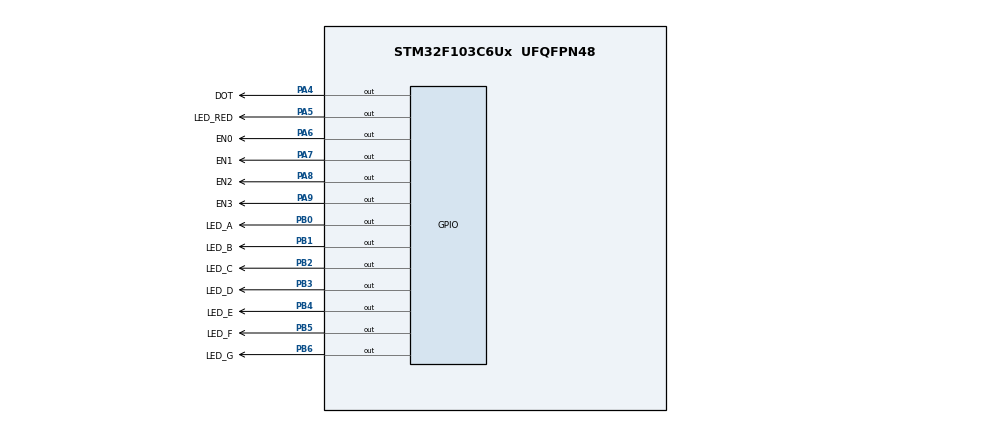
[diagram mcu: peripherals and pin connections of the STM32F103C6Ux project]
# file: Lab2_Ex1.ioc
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Mcu.Family=STM32F1
Mcu.Name=STM32F103C6Ux
Mcu.Package=UFQFPN48
NVIC.PriorityGroup=NVIC_PRIORITYGROUP_4
NVIC.TIM2_IRQn=true\:0\:0\:false\:false\:true\:true\:true
PA4.GPIO_Label=DOT
PA4.Signal=GPIO_Output
PA5.GPIO_Label=LED_RED
PA5.Signal=GPIO_Output
PA6.GPIO_Label=EN0
PA6.Signal=GPIO_Output
PA7.GPIO_Label=EN1
PA7.Signal=GPIO_Output
PA8.GPIO_Label=EN2
PA8.Signal=GPIO_Output
PA9.GPIO_Label=EN3
PA9.Signal=GPIO_Output
PB0.GPIO_Label=LED_A
PB0.Signal=GPIO_Output
PB1.GPIO_Label=LED_B
PB1.Signal=GPIO_Output
PB2.GPIO_Label=LED_C
PB2.Signal=GPIO_Output
PB3.GPIO_Label=LED_D
PB3.Signal=GPIO_Output
PB4.GPIO_Label=LED_E
PB4.Signal=GPIO_Output
PB5.GPIO_Label=LED_F
PB5.Signal=GPIO_Output
PB6.GPIO_Label=LED_G
PB6.Signal=GPIO_Output
ProjectManager.HeapSize=0x200
ProjectManager.StackSize=0x400
ProjectManager.TargetToolchain=STM32CubeIDE
RCC.APB1Freq_Value=8000000
RCC.APB2Freq_Value=8000000
TIM2.Period=9
TIM2.Prescaler=7999
VP_SYS_VS_ND.Mode=No_Debug
VP_TIM2_VS_ClockSourceINT.Mode=Internal
board=custom

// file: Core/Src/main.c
/* USER CODE BEGIN Header */
/**
  ******************************************************************************
  * @file           : main.c
  * @brief          : Main program body
  ******************************************************************************
  * @attention
  *
  * <h2><center>&copy; Copyright (c) 2023 STMicroelectronics.
  * All rights reserved.</center></h2>
  *
  * This software component is licensed by ST under BSD 3-Clause license,
  * the "License"; You may not use this file except in compliance with the
  * License. You may obtain a copy of the License at:
  *                        opensource.org/licenses/BSD-3-Clause
  *
  ******************************************************************************
  */
/* USER CODE END Header */
#include "main.h"

/* USER CODE BEGIN Includes */
#include "7SEG.h"
#include "InitState.h"
/* USER CODE END Includes */

TIM_HandleTypeDef htim2;

void SystemClock_Config(void);
static void MX_GPIO_Init(void);
static void MX_TIM2_Init(void);

int main(void)
{

  /* MCU Configuration--------------------------------------------------------*/

  /* Reset of all peripherals, Initializes the Flash interface and the Systick. */
  HAL_Init();

  /* Configure the system clock */
  SystemClock_Config();

  /* Initialize all configured peripherals */
  MX_GPIO_Init();
  MX_TIM2_Init();
  /* USER CODE BEGIN 2 */
  HAL_TIM_Base_Start_IT(&htim2);
  initState();
  /* USER CODE END 2 */

  /* Infinite loop */
  while (1)
  {

  }
}

void SystemClock_Config(void)
{
  RCC_OscInitTypeDef RCC_OscInitStruct = {0};
  RCC_ClkInitTypeDef RCC_ClkInitStruct = {0};

  /** Initializes the RCC Oscillators according to the specified parameters
  * in the RCC_OscInitTypeDef structure.
  */
  RCC_OscInitStruct.OscillatorType = RCC_OSCILLATORTYPE_HSI;
  RCC_OscInitStruct.HSIState = RCC_HSI_ON;
  RCC_OscInitStruct.HSICalibrationValue = RCC_HSICALIBRATION_DEFAULT;
  RCC_OscInitStruct.PLL.PLLState = RCC_PLL_NONE;
  if (HAL_RCC_OscConfig(&RCC_OscInitStruct) != HAL_OK)
  {
    Error_Handler();
  }
  /** Initializes the CPU, AHB and APB buses clocks
  */
  RCC_ClkInitStruct.ClockType = RCC_CLOCKTYPE_HCLK|RCC_CLOCKTYPE_SYSCLK
                              |RCC_CLOCKTYPE_PCLK1|RCC_CLOCKTYPE_PCLK2;
  RCC_ClkInitStruct.SYSCLKSource = RCC_SYSCLKSOURCE_HSI;
  RCC_ClkInitStruct.AHBCLKDivider = RCC_SYSCLK_DIV1;
  RCC_ClkInitStruct.APB1CLKDivider = RCC_HCLK_DIV1;
  RCC_ClkInitStruct.APB2CLKDivider = RCC_HCLK_DIV1;

  if (HAL_RCC_ClockConfig(&RCC_ClkInitStruct, FLASH_LATENCY_0) != HAL_OK)
  {
    Error_Handler();
  }
}

static void MX_TIM2_Init(void)
{

  TIM_ClockConfigTypeDef sClockSourceConfig = {0};
  TIM_MasterConfigTypeDef sMasterConfig = {0};

  htim2.Instance = TIM2;
  htim2.Init.Prescaler = 7999;
  htim2.Init.CounterMode = TIM_COUNTERMODE_UP;
  htim2.Init.Period = 9;
  htim2.Init.ClockDivision = TIM_CLOCKDIVISION_DIV1;
  htim2.Init.AutoReloadPreload = TIM_AUTORELOAD_PRELOAD_DISABLE;
  if (HAL_TIM_Base_Init(&htim2) != HAL_OK)
  {
    Error_Handler();
  }
  sClockSourceConfig.ClockSource = TIM_CLOCKSOURCE_INTERNAL;
  if (HAL_TIM_ConfigClockSource(&htim2, &sClockSourceConfig) != HAL_OK)
  {
    Error_Handler();
  }
  sMasterConfig.MasterOutputTrigger = TIM_TRGO_RESET;
  sMasterConfig.MasterSlaveMode = TIM_MASTERSLAVEMODE_DISABLE;
  if (HAL_TIMEx_MasterConfigSynchronization(&htim2, &sMasterConfig) != HAL_OK)
  {
    Error_Handler();
  }

}

static void MX_GPIO_Init(void)
{
  GPIO_InitTypeDef GPIO_InitStruct = {0};

  /* GPIO Ports Clock Enable */
  __HAL_RCC_GPIOA_CLK_ENABLE();
  __HAL_RCC_GPIOB_CLK_ENABLE();

  /*Configure GPIO pin Output Level */
  HAL_GPIO_WritePin(GPIOA, DOT_Pin|LED_RED_Pin|EN0_Pin|EN1_Pin
                          |EN2_Pin|EN3_Pin, GPIO_PIN_RESET);

  /*Configure GPIO pin Output Level */
  HAL_GPIO_WritePin(GPIOB, LED_A_Pin|LED_B_Pin|LED_C_Pin|LED_D_Pin
                          |LED_E_Pin|LED_F_Pin|LED_G_Pin, GPIO_PIN_RESET);

  /*Configure GPIO pins : DOT_Pin LED_RED_Pin EN0_Pin EN1_Pin
                           EN2_Pin EN3_Pin */
  GPIO_InitStruct.Pin = DOT_Pin|LED_RED_Pin|EN0_Pin|EN1_Pin
                          |EN2_Pin|EN3_Pin;
  GPIO_InitStruct.Mode = GPIO_MODE_OUTPUT_PP;
  GPIO_InitStruct.Pull = GPIO_NOPULL;
  GPIO_InitStruct.Speed = GPIO_SPEED_FREQ_LOW;
  HAL_GPIO_Init(GPIOA, &GPIO_InitStruct);

  /*Configure GPIO pins : LED_A_Pin LED_B_Pin LED_C_Pin LED_D_Pin
                           LED_E_Pin LED_F_Pin LED_G_Pin */
  GPIO_InitStruct.Pin = LED_A_Pin|LED_B_Pin|LED_C_Pin|LED_D_Pin
                          |LED_E_Pin|LED_F_Pin|LED_G_Pin;
  GPIO_InitStruct.Mode = GPIO_MODE_OUTPUT_PP;
  GPIO_InitStruct.Pull = GPIO_NOPULL;
  GPIO_InitStruct.Speed = GPIO_SPEED_FREQ_LOW;
  HAL_GPIO_Init(GPIOB, &GPIO_InitStruct);

}

/* USER CODE BEGIN 4 */
int state = 1;
int counter_half_sec = 0;
int changeEn(int state)
{
	switch(state)
	{
	case 1:
		HAL_GPIO_TogglePin(EN0_GPIO_Port, EN0_Pin);
		HAL_GPIO_TogglePin(EN1_GPIO_Port, EN1_Pin);
		return 2;
		break;
	case 2:
		HAL_GPIO_TogglePin(EN1_GPIO_Port, EN1_Pin);
		HAL_GPIO_TogglePin(EN2_GPIO_Port, EN2_Pin);
		return 3;
		break;
	case 3:
		HAL_GPIO_TogglePin(EN2_GPIO_Port, EN2_Pin);
		HAL_GPIO_TogglePin(EN3_GPIO_Port, EN3_Pin);
		return 4;
		break;
	case 4:
		HAL_GPIO_TogglePin(EN3_GPIO_Port, EN3_Pin);
		HAL_GPIO_TogglePin(EN0_GPIO_Port, EN0_Pin);
		return 1;
		break;
	default:
		break;
	}
	return 1;
}
int counter = 50;
void HAL_TIM_PeriodElapsedCallback(TIM_HandleTypeDef *htim)
{
	counter--;
	if(counter <= 0)
	{
		counter = 50;
		counter_half_sec++;
		if(counter_half_sec == 2)
		{
			counter_half_sec = 0;
			HAL_GPIO_TogglePin(DOT_GPIO_Port, DOT_Pin);
		}
		HAL_GPIO_TogglePin(LED_RED_GPIO_Port, LED_RED_Pin);
		state = changeEn(state);
		switch(state)
		{
		case 1:
			display7SEG(1);
			break;
		case 2:
			display7SEG(2);
			break;
		case 3:
			display7SEG(3);
			break;
		case 4:
			display7SEG(0);
			break;
		default:
			break;
		}
	}
}
/* USER CODE END 4 */

void Error_Handler(void)
{
  __disable_irq();
  while (1)
  {
  }
}

/************************ (C) COPYRIGHT STMicroelectronics *****END OF FILE****/
